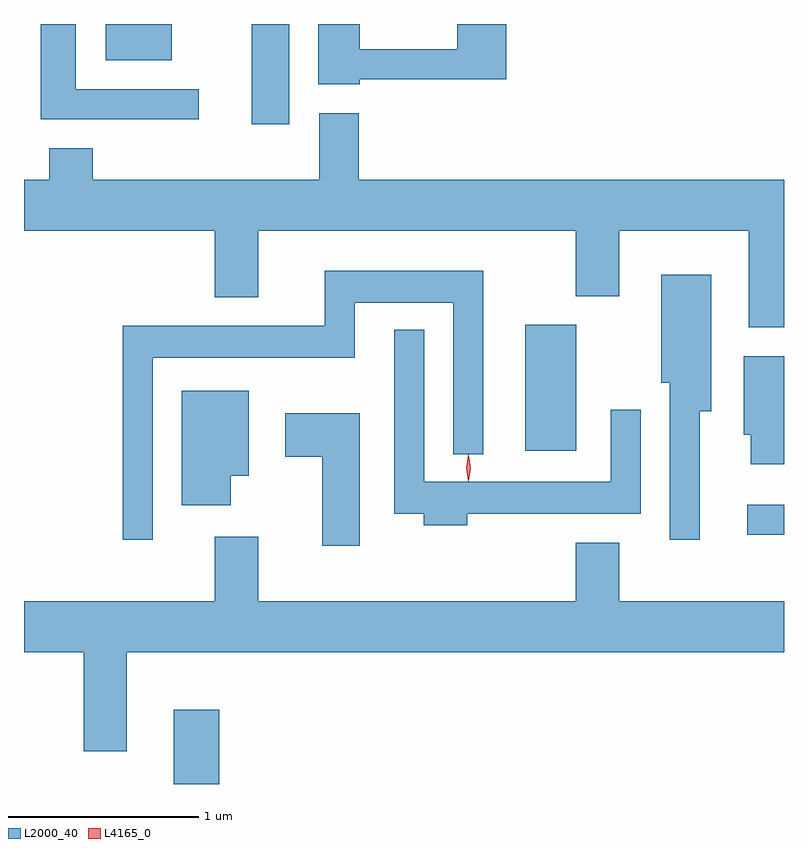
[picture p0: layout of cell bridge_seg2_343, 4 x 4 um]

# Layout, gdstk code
import gdstk
lib = gdstk.Library(unit=1e-6, precision=1e-09)
def R(c, l, rs):  # rectangles x0, y0, x1, y1
    for r in rs: c.add(gdstk.rectangle(r[:2], r[2:], *l))
def P(c, l, *ps):  # polygons
    for p in ps: c.add(gdstk.Polygon(p, *l))
L2000_40 = (2000, 40)
L4165_0 = (4165, 0)

bridge_seg2_343 = lib.new_cell('bridge_seg2_343')
R(bridge_seg2_343, L2000_40, [(464.266,1032.083,464.504,1032.474), (467.283,1033.396,467.477,1033.554), (466.116,1033.836,466.384,1034.499), (464.676,1035.556,464.874,1036.083), (463.906,1035.891,464.254,1036.083)])
P(bridge_seg2_343, L2000_40, [(465.244,1035.791),(466.014,1035.791),(466.014,1036.083),(465.756,1036.083),(465.756,1035.949),(465.244,1035.949),(465.244,1036.083),(465.026,1036.083),(465.026,1035.766),(465.244,1035.766)],
  [(464.398,1035.739),(463.749,1035.739),(463.749,1036.083),(463.566,1036.083),(463.566,1035.581),(464.398,1035.581)],
  [(467.477,1035.264),(465.239,1035.264),(465.239,1035.614),(465.031,1035.614),(465.031,1035.264),(463.839,1035.264),(463.839,1035.429),(463.611,1035.429),(463.611,1035.264),(463.477,1035.264),(463.477,1034.996),(464.481,1034.996),(464.481,1034.646),(464.709,1034.646),(464.709,1034.996),(466.381,1034.996),(466.381,1034.651),(466.609,1034.651),(466.609,1034.996),(467.291,1034.996),(467.291,1034.486),(467.477,1034.486)],
  [(464.154,1034.326),(465.219,1034.326),(465.219,1034.616),(465.736,1034.616),(465.736,1033.818),(465.894,1033.818),(465.894,1034.784),(465.061,1034.784),(465.061,1034.494),(463.996,1034.494),(463.996,1033.368),(464.154,1033.368)],
  [(467.034,1034.046),(467.094,1034.046),(467.094,1034.764),(466.831,1034.764),(466.831,1034.196),(466.876,1034.196),(466.876,1033.368),(467.034,1033.368)],
  [(465.809,1033.506),(466.724,1033.506),(466.724,1034.053),(466.566,1034.053),(466.566,1033.674),(465.584,1033.674),(465.584,1034.473),(465.426,1034.473),(465.426,1033.506),(465.581,1033.506),(465.581,1033.446),(465.809,1033.446)],
  [(467.477,1034.334),(467.266,1034.334),(467.266,1033.921),(467.301,1033.921),(467.301,1033.766),(467.477,1033.766)],
  [(464.564,1033.706),(464.659,1033.706),(464.659,1034.154),(464.306,1034.154),(464.306,1033.551),(464.564,1033.551)],
  [(465.244,1034.034),(464.851,1034.034),(464.851,1033.806),(465.046,1033.806),(465.046,1033.336),(465.244,1033.336)],
  [(464.019,1032.776),(467.477,1032.776),(467.477,1033.044),(466.609,1033.044),(466.609,1033.354),(466.381,1033.354),(466.381,1033.044),(464.709,1033.044),(464.709,1033.384),(464.481,1033.384),(464.481,1033.044),(463.477,1033.044),(463.477,1032.776),(463.791,1032.776),(463.791,1032.256),(464.019,1032.256)])
P(bridge_seg2_343, L4165_0, [(465.814,1033.677),(465.814,1033.677),(465.804,1033.747),(465.814,1033.816),(465.814,1033.816),(465.815,1033.816),(465.824,1033.747),(465.815,1033.677)],
  [(465.818,1033.679),(465.818,1033.68),(465.808,1033.746),(465.818,1033.813),(465.818,1033.813),(465.819,1033.813),(465.828,1033.746),(465.819,1033.68)])

lib.write_gds('bridge_seg2_343.gds')
